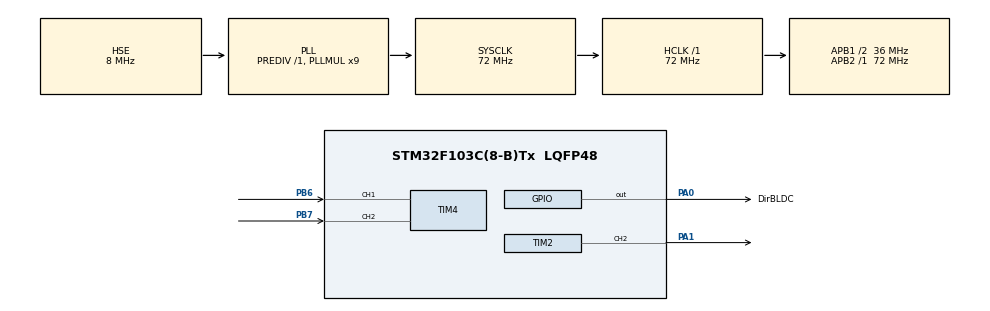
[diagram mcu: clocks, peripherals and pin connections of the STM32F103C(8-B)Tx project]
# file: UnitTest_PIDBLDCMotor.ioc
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FREERTOS.Tasks01=CalPIDBLDC,0,128,StartCalPIDBLDC,Default,NULL,Dynamic,NULL,NULL
Mcu.Family=STM32F1
Mcu.Name=STM32F103C(8-B)Tx
Mcu.Package=LQFP48
NVIC.PriorityGroup=NVIC_PRIORITYGROUP_4
NVIC.TIM1_UP_IRQn=true\:15\:0\:false\:false\:true\:false\:false\:true\:true
NVIC.TIM4_IRQn=true\:5\:0\:false\:false\:true\:true\:true\:true\:true
NVIC.TimeBase=TIM1_UP_IRQn
NVIC.TimeBaseIP=TIM1
PA0-WKUP.GPIO_Label=DirBLDC
PA0-WKUP.Signal=GPIO_Output
PA1.Signal=S_TIM2_CH2
PA13.Mode=Serial_Wire
PA13.Signal=SYS_JTMS-SWDIO
PA14.Mode=Serial_Wire
PA14.Signal=SYS_JTCK-SWCLK
PB6.Signal=S_TIM4_CH1
PB7.Signal=S_TIM4_CH2
PD0-OSC_IN.Mode=HSE-External-Oscillator
PD0-OSC_IN.Signal=RCC_OSC_IN
PD1-OSC_OUT.Mode=HSE-External-Oscillator
PD1-OSC_OUT.Signal=RCC_OSC_OUT
ProjectManager.HeapSize=0x200
ProjectManager.StackSize=0x400
ProjectManager.TargetToolchain=STM32CubeIDE
RCC.AHBFreq_Value=72000000
RCC.APB1CLKDivider=RCC_HCLK_DIV2
RCC.APB1Freq_Value=36000000
RCC.APB1TimFreq_Value=72000000
RCC.APB2Freq_Value=72000000
RCC.APB2TimFreq_Value=72000000
RCC.HCLKFreq_Value=72000000
RCC.PLLMUL=RCC_PLL_MUL9
RCC.PLLSourceVirtual=RCC_PLLSOURCE_HSE
RCC.SYSCLKFreq_VALUE=72000000
RCC.SYSCLKSource=RCC_SYSCLKSOURCE_PLLCLK
RCC.USBFreq_Value=72000000
SH.S_TIM2_CH2.0=TIM2_CH2,PWM Generation2 CH2
SH.S_TIM4_CH1.0=TIM4_CH1,Encoder_Interface
SH.S_TIM4_CH2.0=TIM4_CH2,Encoder_Interface
TIM2.Channel-PWM\ Generation2\ CH2=TIM_CHANNEL_2
TIM2.Period=999
TIM2.Prescaler=6
TIM4.EncoderMode=TIM_ENCODERMODE_TI12
VP_FREERTOS_VS_CMSIS_V1.Mode=CMSIS_V1
VP_SYS_VS_tim1.Mode=TIM1
VP_TIM2_VS_ClockSourceINT.Mode=Internal
board=custom

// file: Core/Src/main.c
/* USER CODE BEGIN Header */
/**
  ******************************************************************************
  * @file           : main.c
  * @brief          : Main program body
  ******************************************************************************
  * @attention
  *
  * Copyright (c) 2023 STMicroelectronics.
  * All rights reserved.
  *
  * This software is licensed under terms that can be found in the LICENSE file
  * in the root directory of this software component.
  * If no LICENSE file comes with this software, it is provided AS-IS.
  *
  ******************************************************************************
  */

/* USER CODE END Header */
#include "main.h"
#include "cmsis_os.h"

/* USER CODE BEGIN Includes */
#include "Encoder.h"
#include "DriveMotor.h"
#include "PID.h"
#include "stdlib.h"
/* USER CODE END Includes */

/* USER CODE BEGIN PM */
/*-----------------------------Begin:PID BLDC Macro---------------------------*/
#define BLDCPropotion				0.01 //0.01 chạy chậm   // 0.35 dung
#define BLDCIntergral				1.25 //1.25 chạy chậm   // 0.00001 dung
#define BLDCDerivative				0
#define BLDCAlpha					0
#define BLDCDeltaT					0.05
#define BLDCClockWise				1
#define BLDCCounterClockWise		0
#define BLDCIntergralAboveLimit		1000
#define BLDCIntergralBelowLimit	   -1000
#define BLDCSumAboveLimit			200
#define BLDCSumBelowLimit		   -200
#define BLDCEncoderPerRound			200
#define BLDCGearRatio 				2.5

/*-----------------------------End:PID BLDC Macro-----------------------------*/
/* USER CODE END PM */

TIM_HandleTypeDef htim2;
TIM_HandleTypeDef htim4;

osThreadId CalPIDBLDCHandle;
/* USER CODE BEGIN PV */
EncoderRead ENC_BLDC;

MotorDrive BLDC;

PID_Param PID_BLDC;

double SpeedTestBLDC;
/* USER CODE END PV */

void SystemClock_Config(void);
static void MX_GPIO_Init(void);
static void MX_TIM2_Init(void);
static void MX_TIM4_Init(void);
void StartCalPIDBLDC(void const * argument);

/* USER CODE BEGIN 0 */
void PIDBLDC(void){
//	SpeedReadOnly(&ENC_BLDC);
	SpeedReadNonReset(&ENC_BLDC);

//	Pid_Cal(&PID_BLDC, SpeedTestBLDC, ENC_BLDC.deltaXung);
	Pid_Cal(&PID_BLDC, SpeedTestBLDC, CountRead(&ENC_BLDC, count_ModeX1));

	BLDC_Drive_RedBoard(&BLDC, &htim2, PID_BLDC.u, TIM_CHANNEL_2);
}
/* USER CODE END 0 */

int main(void)
{

  /* MCU Configuration--------------------------------------------------------*/

  /* Reset of all peripherals, Initializes the Flash interface and the Systick. */
  HAL_Init();

  /* Configure the system clock */
  SystemClock_Config();

  /* Initialize all configured peripherals */
  MX_GPIO_Init();
  MX_TIM2_Init();
  MX_TIM4_Init();
  /* USER CODE BEGIN 2 */
  HAL_TIM_PWM_Start(&htim2, TIM_CHANNEL_2);
  HAL_TIM_Encoder_Start_IT(&htim4, TIM_CHANNEL_ALL);

  EncoderSetting(&ENC_BLDC, &htim4, BLDCEncoderPerRound*BLDCGearRatio, BLDCDeltaT);

  Pid_SetParam(&PID_BLDC, BLDCPropotion, BLDCIntergral, BLDCDerivative, BLDCAlpha, BLDCDeltaT, BLDCIntergralAboveLimit, BLDCIntergralBelowLimit, BLDCSumAboveLimit, BLDCSumBelowLimit);
  /* USER CODE END 2 */

  /* Create the thread(s) */
  /* definition and creation of CalPIDBLDC */
  osThreadDef(CalPIDBLDC, StartCalPIDBLDC, osPriorityNormal, 0, 128);
  CalPIDBLDCHandle = osThreadCreate(osThread(CalPIDBLDC), NULL);

  /* Start scheduler */
  osKernelStart();

  /* We should never get here as control is now taken by the scheduler */
  /* Infinite loop */
  while (1)
  {

  }
}

void SystemClock_Config(void)
{
  RCC_OscInitTypeDef RCC_OscInitStruct = {0};
  RCC_ClkInitTypeDef RCC_ClkInitStruct = {0};

  /** Initializes the RCC Oscillators according to the specified parameters
  * in the RCC_OscInitTypeDef structure.
  */
  RCC_OscInitStruct.OscillatorType = RCC_OSCILLATORTYPE_HSE;
  RCC_OscInitStruct.HSEState = RCC_HSE_ON;
  RCC_OscInitStruct.HSEPredivValue = RCC_HSE_PREDIV_DIV1;
  RCC_OscInitStruct.HSIState = RCC_HSI_ON;
  RCC_OscInitStruct.PLL.PLLState = RCC_PLL_ON;
  RCC_OscInitStruct.PLL.PLLSource = RCC_PLLSOURCE_HSE;
  RCC_OscInitStruct.PLL.PLLMUL = RCC_PLL_MUL9;
  if (HAL_RCC_OscConfig(&RCC_OscInitStruct) != HAL_OK)
  {
    Error_Handler();
  }

  /** Initializes the CPU, AHB and APB buses clocks
  */
  RCC_ClkInitStruct.ClockType = RCC_CLOCKTYPE_HCLK|RCC_CLOCKTYPE_SYSCLK
                              |RCC_CLOCKTYPE_PCLK1|RCC_CLOCKTYPE_PCLK2;
  RCC_ClkInitStruct.SYSCLKSource = RCC_SYSCLKSOURCE_PLLCLK;
  RCC_ClkInitStruct.AHBCLKDivider = RCC_SYSCLK_DIV1;
  RCC_ClkInitStruct.APB1CLKDivider = RCC_HCLK_DIV2;
  RCC_ClkInitStruct.APB2CLKDivider = RCC_HCLK_DIV1;

  if (HAL_RCC_ClockConfig(&RCC_ClkInitStruct, FLASH_LATENCY_2) != HAL_OK)
  {
    Error_Handler();
  }
}

static void MX_TIM2_Init(void)
{

  TIM_ClockConfigTypeDef sClockSourceConfig = {0};
  TIM_MasterConfigTypeDef sMasterConfig = {0};
  TIM_OC_InitTypeDef sConfigOC = {0};

  htim2.Instance = TIM2;
  htim2.Init.Prescaler = 6;
  htim2.Init.CounterMode = TIM_COUNTERMODE_UP;
  htim2.Init.Period = 999;
  htim2.Init.ClockDivision = TIM_CLOCKDIVISION_DIV1;
  htim2.Init.AutoReloadPreload = TIM_AUTORELOAD_PRELOAD_DISABLE;
  if (HAL_TIM_Base_Init(&htim2) != HAL_OK)
  {
    Error_Handler();
  }
  sClockSourceConfig.ClockSource = TIM_CLOCKSOURCE_INTERNAL;
  if (HAL_TIM_ConfigClockSource(&htim2, &sClockSourceConfig) != HAL_OK)
  {
    Error_Handler();
  }
  if (HAL_TIM_PWM_Init(&htim2) != HAL_OK)
  {
    Error_Handler();
  }
  sMasterConfig.MasterOutputTrigger = TIM_TRGO_RESET;
  sMasterConfig.MasterSlaveMode = TIM_MASTERSLAVEMODE_DISABLE;
  if (HAL_TIMEx_MasterConfigSynchronization(&htim2, &sMasterConfig) != HAL_OK)
  {
    Error_Handler();
  }
  sConfigOC.OCMode = TIM_OCMODE_PWM1;
  sConfigOC.Pulse = 0;
  sConfigOC.OCPolarity = TIM_OCPOLARITY_HIGH;
  sConfigOC.OCFastMode = TIM_OCFAST_DISABLE;
  if (HAL_TIM_PWM_ConfigChannel(&htim2, &sConfigOC, TIM_CHANNEL_2) != HAL_OK)
  {
    Error_Handler();
  }
  HAL_TIM_MspPostInit(&htim2);

}

static void MX_TIM4_Init(void)
{

  TIM_Encoder_InitTypeDef sConfig = {0};
  TIM_MasterConfigTypeDef sMasterConfig = {0};

  htim4.Instance = TIM4;
  htim4.Init.Prescaler = 0;
  htim4.Init.CounterMode = TIM_COUNTERMODE_UP;
  htim4.Init.Period = 65535;
  htim4.Init.ClockDivision = TIM_CLOCKDIVISION_DIV1;
  htim4.Init.AutoReloadPreload = TIM_AUTORELOAD_PRELOAD_DISABLE;
  sConfig.EncoderMode = TIM_ENCODERMODE_TI12;
  sConfig.IC1Polarity = TIM_ICPOLARITY_RISING;
  sConfig.IC1Selection = TIM_ICSELECTION_DIRECTTI;
  sConfig.IC1Prescaler = TIM_ICPSC_DIV1;
  sConfig.IC1Filter = 0;
  sConfig.IC2Polarity = TIM_ICPOLARITY_RISING;
  sConfig.IC2Selection = TIM_ICSELECTION_DIRECTTI;
  sConfig.IC2Prescaler = TIM_ICPSC_DIV1;
  sConfig.IC2Filter = 0;
  if (HAL_TIM_Encoder_Init(&htim4, &sConfig) != HAL_OK)
  {
    Error_Handler();
  }
  sMasterConfig.MasterOutputTrigger = TIM_TRGO_RESET;
  sMasterConfig.MasterSlaveMode = TIM_MASTERSLAVEMODE_DISABLE;
  if (HAL_TIMEx_MasterConfigSynchronization(&htim4, &sMasterConfig) != HAL_OK)
  {
    Error_Handler();
  }

}

static void MX_GPIO_Init(void)
{
  GPIO_InitTypeDef GPIO_InitStruct = {0};

  /* GPIO Ports Clock Enable */
  __HAL_RCC_GPIOD_CLK_ENABLE();
  __HAL_RCC_GPIOA_CLK_ENABLE();
  __HAL_RCC_GPIOB_CLK_ENABLE();

  /*Configure GPIO pin Output Level */
  HAL_GPIO_WritePin(DirBLDC_GPIO_Port, DirBLDC_Pin, GPIO_PIN_RESET);

  /*Configure GPIO pin : DirBLDC_Pin */
  GPIO_InitStruct.Pin = DirBLDC_Pin;
  GPIO_InitStruct.Mode = GPIO_MODE_OUTPUT_PP;
  GPIO_InitStruct.Pull = GPIO_NOPULL;
  GPIO_InitStruct.Speed = GPIO_SPEED_FREQ_LOW;
  HAL_GPIO_Init(DirBLDC_GPIO_Port, &GPIO_InitStruct);

}

void StartCalPIDBLDC(void const * argument)
{
  /* USER CODE BEGIN 5 */
  /* Infinite loop */
  for(;;)
  {
	SpeedReadNonReset(&ENC_BLDC);
	BLDC_Drive_RedBoard(&BLDC, &htim2, SpeedTestBLDC, TIM_CHANNEL_2);
//	PIDBLDC();
    osDelay(50);
  }
  /* USER CODE END 5 */
}

void HAL_TIM_PeriodElapsedCallback(TIM_HandleTypeDef *htim)
{
  if (htim->Instance == TIM1) {
    HAL_IncTick();
  }
}

void Error_Handler(void)
{
  __disable_irq();
  while (1)
  {
  }
}
